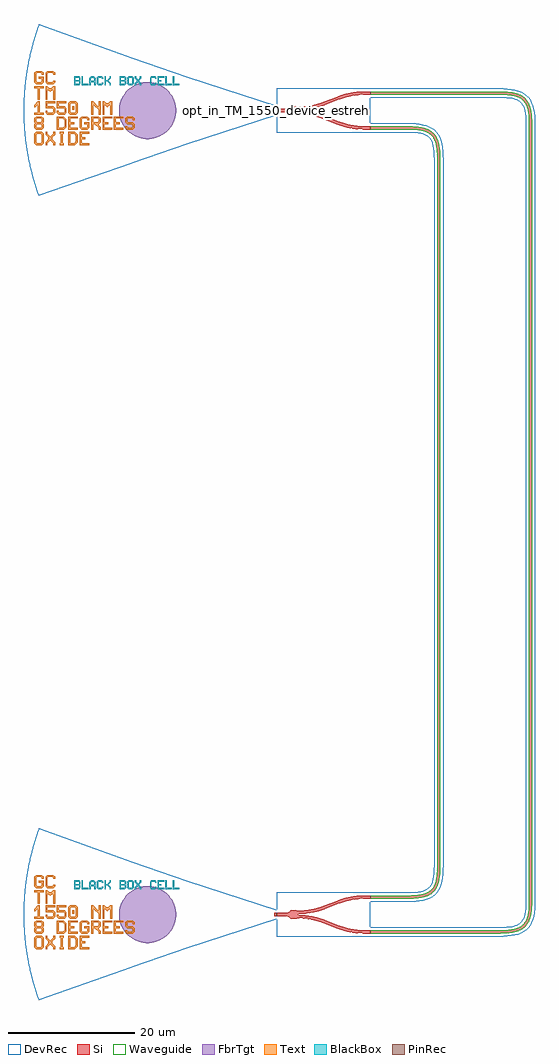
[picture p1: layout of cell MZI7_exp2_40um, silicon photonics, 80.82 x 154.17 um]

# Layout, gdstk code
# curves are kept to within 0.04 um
import gdstk
lib = gdstk.Library(unit=1e-6, precision=1e-09)
def R(c, l, rs):  # rectangles x0, y0, x1, y1
    for r in rs: c.add(gdstk.rectangle(r[:2], r[2:], *l))
def P(c, l, *ps):  # polygons
    for p in ps: c.add(gdstk.Polygon(p, *l))
Si = (1, 0)
PinRec = (1, 10)
Waveguide = (1, 99)
Text = (10, 0)
DevRec = (68, 0)
FbrTgt = (81, 0)
BlackBox = (998, 0)

text = lib.new_cell('TEXT')
P(text, BlackBox, [(13.2,0),(13.2,1.4),(14.2,1.4),(14.2,1.2),(13.4,1.2),(13.4,0.8),(13.8,0.8),(13.8,0.6),(13.4,0.6),(13.4,0.2),(14.2,0.2),(14.2,0)],
  [(9.6,0),(9.6,0.3),(9.9,0.6),(9.9,0.8),(9.6,1.1),(9.6,1.4),(9.8,1.4),(9.8,1.2),(10.1,0.9),(10.4,1.2),(10.4,1.4),(10.6,1.4),(10.6,1.1),(10.3,0.8),(10.3,0.6),(10.6,0.3),(10.6,0),(10.4,0),(10.4,0.2),(10.1,0.5),(9.8,0.2),(9.8,0)],
  [(8.6,0),(8.4,0.2),(8.4,1.2),(8.6,1.4),(9.2,1.4),(9.4,1.2),(9.4,0.7),(9.2,0.7),(9.2,1.1),(9.1,1.2),(8.7,1.2),(8.6,1.1),(8.6,0.3),(8.7,0.2),(9.1,0.2),(9.2,0.3),(9.2,0.7),(9.4,0.7),(9.4,0.2),(9.2,0)],
  [(4.8,0),(4.8,1.4),(5,1.4),(5,0.8),(5.2,0.8),(5.6,1.2),(5.6,1.4),(5.8,1.4),(5.8,1.1),(5.4,0.7),(5.8,0.3),(5.8,0),(5.6,0),(5.6,0.2),(5.2,0.6),(5,0.6),(5,0)],
  [(3.8,0),(3.6,0.2),(3.6,1.2),(3.8,1.4),(4.4,1.4),(4.6,1.2),(4.6,1),(4.4,1),(4.4,1.1),(4.3,1.2),(3.9,1.2),(3.8,1.1),(3.8,0.3),(3.9,0.2),(4.3,0.2),(4.4,0.3),(4.4,0.4),(4.6,0.4),(4.6,0.2),(4.4,0)],
  [(12.2,0),(12,0.2),(12,1.2),(12.2,1.4),(12.8,1.4),(13,1.2),(13,1),(12.8,1),(12.8,1.1),(12.7,1.2),(12.3,1.2),(12.2,1.1),(12.2,0.3),(12.3,0.2),(12.7,0.2),(12.8,0.3),(12.8,0.4),(13,0.4),(13,0.2),(12.8,0)],
  [(2.4,0),(2.4,1.1),(2.7,1.4),(3.1,1.4),(3.3,1.2),(2.8,1.2),(2.6,1),(2.6,0.7),(3.2,0.7),(3.2,1),(3,1.2),(3.3,1.2),(3.4,1.1),(3.4,0),(3.2,0),(3.2,0.5),(2.6,0.5),(2.6,0)],
  [(1.2,0),(1.2,1.4),(1.4,1.4),(1.4,0.2),(2.2,0.2),(2.2,0)],
  [(14.4,0),(14.4,1.4),(14.6,1.4),(14.6,0.2),(15.4,0.2),(15.4,0)],
  [(15.6,0),(15.6,1.4),(15.8,1.4),(15.8,0.2),(16.6,0.2),(16.6,0)],
  [(0,0),(0,1.4),(0.8,1.4),(1,1.2),(0.2,1.2),(0.2,0.8),(0.7,0.8),(0.8,0.9),(0.8,1.1),(0.7,1.2),(1,1.2),(1,0.8),(0.9,0.7),(1,0.6),(0.2,0.6),(0.2,0.2),(0.7,0.2),(0.8,0.3),(0.8,0.5),(0.7,0.6),(1,0.6),(1,0.2),(0.8,0)],
  [(7.2,0),(7.2,1.4),(8,1.4),(8.2,1.2),(7.4,1.2),(7.4,0.8),(7.9,0.8),(8,0.9),(8,1.1),(7.9,1.2),(8.2,1.2),(8.2,0.8),(8.1,0.7),(8.2,0.6),(7.4,0.6),(7.4,0.2),(7.9,0.2),(8,0.3),(8,0.5),(7.9,0.6),(8.2,0.6),(8.2,0.2),(8,0)])

gc_tm_1550_8degoxide_bb = lib.new_cell('GC_TM_1550_8degOxide_BB')
R(gc_tm_1550_8degoxide_bb, Si, [(-0.4,-0.25,0,0.25)])
R(gc_tm_1550_8degoxide_bb, Text, [(-32.313,0.092,-32.013,0.692)])
P(gc_tm_1550_8degoxide_bb, Text, [(-30.813,-3.058),(-31.113,-2.758),(-31.113,-1.258),(-30.813,-0.958),(-29.913,-0.958),(-29.613,-1.258),(-29.613,-1.558),(-29.913,-1.558),(-29.913,-1.408),(-30.063,-1.258),(-30.663,-1.258),(-30.813,-1.408),(-30.813,-2.608),(-30.663,-2.758),(-30.063,-2.758),(-29.913,-2.608),(-29.913,-2.158),(-30.363,-2.158),(-30.363,-1.858),(-29.613,-1.858),(-29.613,-2.758),(-29.913,-3.058)],
  [(-38.013,4.142),(-38.313,4.442),(-38.313,5.942),(-38.013,6.242),(-37.113,6.242),(-36.813,5.942),(-36.813,5.642),(-37.113,5.642),(-37.113,5.792),(-37.263,5.942),(-37.863,5.942),(-38.013,5.792),(-38.013,4.592),(-37.863,4.442),(-37.263,4.442),(-37.113,4.592),(-37.113,5.042),(-37.563,5.042),(-37.563,5.342),(-36.813,5.342),(-36.813,4.442),(-37.113,4.142)],
  [(-36.513,-5.458),(-36.513,-5.008),(-36.063,-4.558),(-36.063,-4.258),(-36.513,-3.808),(-36.513,-3.358),(-36.213,-3.358),(-36.213,-3.658),(-35.763,-4.108),(-35.313,-3.658),(-35.313,-3.358),(-35.013,-3.358),(-35.013,-3.808),(-35.463,-4.258),(-35.463,-4.558),(-35.013,-5.008),(-35.013,-5.458),(-35.313,-5.458),(-35.313,-5.158),(-35.763,-4.708),(-36.213,-5.158),(-36.213,-5.458)],
  [(-37.713,1.742),(-37.713,3.542),(-38.313,3.542),(-38.313,3.842),(-36.813,3.842),(-36.813,3.542),(-37.413,3.542),(-37.413,1.742)],
  [(-38.013,-5.458),(-38.313,-5.158),(-38.313,-3.658),(-38.013,-3.358),(-37.113,-3.358),(-36.813,-3.658),(-36.813,-4.408),(-37.113,-4.408),(-37.113,-3.808),(-37.263,-3.658),(-37.863,-3.658),(-38.013,-3.808),(-38.013,-5.008),(-37.863,-5.158),(-37.263,-5.158),(-37.113,-5.008),(-37.113,-4.408),(-36.813,-4.408),(-36.813,-5.158),(-37.113,-5.458)],
  [(-31.113,-5.458),(-31.113,-3.358),(-29.613,-3.358),(-29.613,-3.658),(-30.813,-3.658),(-30.813,-4.258),(-30.213,-4.258),(-30.213,-4.558),(-30.813,-4.558),(-30.813,-5.158),(-29.613,-5.158),(-29.613,-5.458)],
  [(-32.913,-3.058),(-32.913,-0.958),(-31.413,-0.958),(-31.413,-1.258),(-32.613,-1.258),(-32.613,-1.858),(-32.013,-1.858),(-32.013,-2.158),(-32.613,-2.158),(-32.613,-2.758),(-31.413,-2.758),(-31.413,-3.058)],
  [(-27.513,-3.058),(-27.513,-0.958),(-26.013,-0.958),(-26.013,-1.258),(-27.213,-1.258),(-27.213,-1.858),(-26.613,-1.858),(-26.613,-2.158),(-27.213,-2.158),(-27.213,-2.758),(-26.013,-2.758),(-26.013,-3.058)],
  [(-25.713,-3.058),(-25.713,-0.958),(-24.213,-0.958),(-24.213,-1.258),(-25.413,-1.258),(-25.413,-1.858),(-24.813,-1.858),(-24.813,-2.158),(-25.413,-2.158),(-25.413,-2.758),(-24.213,-2.758),(-24.213,-3.058)],
  [(-29.313,-0.658),(-29.313,1.442),(-29.013,1.442),(-28.263,0.692),(-28.113,0.692),(-28.113,1.442),(-27.813,1.442),(-27.813,-0.658),(-28.113,-0.658),(-28.113,0.092),(-28.863,0.842),(-29.013,0.842),(-29.013,-0.658)],
  [(-34.263,-5.458),(-34.263,-5.158),(-34.113,-5.158),(-34.113,-3.658),(-34.263,-3.658),(-34.263,-3.358),(-33.663,-3.358),(-33.663,-3.658),(-33.813,-3.658),(-33.813,-5.158),(-33.663,-5.158),(-33.663,-5.458)],
  [(-36.213,4.142),(-36.513,4.442),(-36.513,5.942),(-36.213,6.242),(-35.313,6.242),(-35.013,5.942),(-35.013,5.642),(-35.313,5.642),(-35.313,5.792),(-35.463,5.942),(-36.063,5.942),(-36.213,5.792),(-36.213,4.592),(-36.063,4.442),(-35.463,4.442),(-35.313,4.592),(-35.313,4.742),(-35.013,4.742),(-35.013,4.442),(-35.313,4.142)],
  [(-27.513,-0.658),(-27.513,1.442),(-27.213,1.442),(-26.913,1.142),(-26.613,1.142),(-26.313,1.442),(-26.013,1.442),(-26.013,-0.658),(-26.313,-0.658),(-26.313,0.842),(-26.463,0.842),(-26.763,0.542),(-27.063,0.842),(-27.213,0.842),(-27.213,-0.658)],
  [(-36.513,1.742),(-36.513,3.842),(-36.213,3.842),(-35.913,3.542),(-35.613,3.542),(-35.313,3.842),(-35.013,3.842),(-35.013,1.742),(-35.313,1.742),(-35.313,3.242),(-35.463,3.242),(-35.763,2.942),(-36.063,3.242),(-36.213,3.242),(-36.213,1.742)],
  [(-29.313,-3.058),(-29.313,-0.958),(-28.113,-0.958),(-27.813,-1.258),(-29.013,-1.258),(-29.013,-1.858),(-28.263,-1.858),(-28.113,-1.708),(-28.113,-1.408),(-28.263,-1.258),(-27.813,-1.258),(-27.813,-1.858),(-28.113,-2.158),(-28.113,-2.308),(-27.813,-2.608),(-27.813,-3.058),(-28.113,-3.058),(-28.113,-2.758),(-28.713,-2.158),(-29.013,-2.158),(-29.013,-3.058)],
  [(-32.613,-0.658),(-32.913,-0.358),(-32.913,1.142),(-32.613,1.442),(-31.713,1.442),(-31.413,1.142),(-32.463,1.142),(-32.613,0.992),(-32.613,-0.208),(-32.463,-0.358),(-31.863,-0.358),(-31.713,-0.208),(-31.713,0.992),(-31.863,1.142),(-31.413,1.142),(-31.413,-0.358),(-31.713,-0.658)],
  [(-38.013,-3.058),(-38.313,-2.758),(-38.313,-2.158),(-38.163,-2.008),(-38.313,-1.858),(-38.313,-1.258),(-38.013,-0.958),(-37.113,-0.958),(-36.813,-1.258),(-37.863,-1.258),(-38.013,-1.408),(-38.013,-1.708),(-37.863,-1.858),(-37.263,-1.858),(-37.113,-1.708),(-37.113,-1.408),(-37.263,-1.258),(-36.813,-1.258),(-36.813,-1.858),(-36.963,-2.008),(-36.813,-2.158),(-37.863,-2.158),(-38.013,-2.308),(-38.013,-2.608),(-37.863,-2.758),(-37.263,-2.758),(-37.113,-2.608),(-37.113,-2.308),(-37.263,-2.158),(-36.813,-2.158),(-36.813,-2.758),(-37.113,-3.058)],
  [(-32.913,-5.458),(-32.913,-3.358),(-31.863,-3.358),(-31.563,-3.658),(-32.613,-3.658),(-32.613,-5.158),(-32.013,-5.158),(-31.713,-4.858),(-31.713,-3.958),(-32.013,-3.658),(-31.563,-3.658),(-31.413,-3.808),(-31.413,-5.008),(-31.863,-5.458)],
  [(-34.713,-3.058),(-34.713,-0.958),(-33.663,-0.958),(-33.363,-1.258),(-34.413,-1.258),(-34.413,-2.758),(-33.813,-2.758),(-33.513,-2.458),(-33.513,-1.558),(-33.813,-1.258),(-33.363,-1.258),(-33.213,-1.408),(-33.213,-2.608),(-33.663,-3.058)],
  [(-36.213,-0.658),(-36.513,-0.358),(-36.513,-0.058),(-36.213,-0.058),(-36.213,-0.208),(-36.063,-0.358),(-35.463,-0.358),(-35.313,-0.208),(-35.313,0.242),(-35.463,0.392),(-36.513,0.392),(-36.513,1.442),(-35.013,1.442),(-35.013,1.142),(-36.213,1.142),(-36.213,0.692),(-35.313,0.692),(-35.013,0.392),(-35.013,-0.358),(-35.313,-0.658)],
  [(-34.413,-0.658),(-34.713,-0.358),(-34.713,-0.058),(-34.413,-0.058),(-34.413,-0.208),(-34.263,-0.358),(-33.663,-0.358),(-33.513,-0.208),(-33.513,0.242),(-33.663,0.392),(-34.713,0.392),(-34.713,1.442),(-33.213,1.442),(-33.213,1.142),(-34.413,1.142),(-34.413,0.692),(-33.513,0.692),(-33.213,0.392),(-33.213,-0.358),(-33.513,-0.658)],
  [(-23.613,-3.058),(-23.913,-2.758),(-23.913,-2.458),(-23.613,-2.458),(-23.613,-2.608),(-23.463,-2.758),(-22.863,-2.758),(-22.713,-2.608),(-22.713,-2.308),(-22.863,-2.158),(-23.613,-2.158),(-23.913,-1.858),(-23.913,-1.258),(-23.613,-0.958),(-22.713,-0.958),(-22.413,-1.258),(-22.413,-1.558),(-22.713,-1.558),(-22.713,-1.408),(-22.863,-1.258),(-23.463,-1.258),(-23.613,-1.408),(-23.613,-1.708),(-23.463,-1.858),(-22.713,-1.858),(-22.413,-2.158),(-22.413,-2.758),(-22.713,-3.058)],
  [(-38.313,-0.658),(-38.313,-0.358),(-37.713,-0.358),(-37.713,0.842),(-37.863,0.842),(-38.163,0.542),(-38.313,0.542),(-38.313,0.842),(-37.713,1.442),(-37.413,1.442),(-37.413,-0.358),(-36.813,-0.358),(-36.813,-0.658)])
P(gc_tm_1550_8degoxide_bb, DevRec, [(-37.607,-13.5),(-38.627,-10.245),(-39.378,-6.832),(-39.647,-5.058),(-39.835,-3.274),(-39.969,0.224),(-39.812,3.541),(-39.331,7.097),(-38.557,10.505),(-37.546,13.669),(-22.8,8.353),(-14.109,5.36),(0,0.75),(0,-0.75),(-14.109,-5.36)])
P(gc_tm_1550_8degoxide_bb, FbrTgt, [(-20.621,-4.5),(-21.495,-4.37),(-22.326,-4.073),(-23.084,-3.619),(-23.738,-3.026),(-24.264,-2.316),(-24.642,-1.518),(-24.857,-0.661),(-24.9,0.221),(-24.77,1.095),(-24.473,1.926),(-24.019,2.684),(-23.426,3.338),(-22.716,3.864),(-21.918,4.242),(-21.061,4.457),(-20.179,4.5),(-19.305,4.37),(-18.474,4.073),(-17.716,3.619),(-17.062,3.026),(-16.536,2.316),(-16.158,1.518),(-15.943,0.661),(-15.9,-0.221),(-16.03,-1.095),(-16.327,-1.926),(-16.781,-2.684),(-17.374,-3.338),(-18.084,-3.864),(-18.882,-4.242),(-19.739,-4.457)])
gc_tm_1550_8degoxide_bb.add(gdstk.FlexPath([(-0.01,0),(0.01,0)], 0.5, ends="flush", simple_path=True, layer=1, datatype=10))  # PinRec
gc_tm_1550_8degoxide_bb.add(gdstk.Reference(text, (-32,4)))
gc_tm_1550_8degoxide_bb.add(gdstk.Label('opt1', (0,0), layer=1, texttype=10))
gc_tm_1550_8degoxide_bb.add(gdstk.Label('Component=GC_TM_1550_8degOxide_BB', (-28,-5), layer=68, texttype=0))
gc_tm_1550_8degoxide_bb.add(gdstk.Label('Lumerical_INTERCONNECT_library=Design kits/ebeam', (-29,-7), layer=68, texttype=0))

ebeam_y_1550 = lib.new_cell('ebeam_y_1550')
R(ebeam_y_1550, Si, [(6.5,-3,7.4,-2.5), (-7.4,-0.25,-6,0.25), (6.5,2.5,7.4,3)])
P(ebeam_y_1550, Si, [(6.458,-3),(6.237,-2.997),(6.237,-2.497),(6.5,-2.5),(6.5,-3)],
  [(2.265,-2.21),(0.055,-1.356),(0.235,-0.89),(2.445,-1.744)],
  [(5.033,-2.908),(3.59,-2.634),(2.265,-2.21),(2.445,-1.744),(3.731,-2.154),(5.033,-2.404)],
  [(-0.762,0.555),(-0.762,1.076),(0.055,1.356),(0.235,0.89)],
  [(-5.122,-0.662),(-5.442,-0.374),(-5.808,-0.255),(-6,-0.25),(-6,0.25),(-5.817,0.253),(-5.442,0.374),(-5.122,0.662)],
  [(-4.957,-0.703),(-5.122,-0.662),(-5.122,0.662),(-4.538,0.703),(-4,0.6),(-4,-0.6),(-4.509,-0.701)],
  [(0.055,-1.356),(-0.762,-1.076),(-0.762,-0.555),(0.235,-0.89)],
  [(6.237,2.497),(6.237,2.997),(6.5,3),(6.5,2.5)],
  [(-0.762,-1.076),(-2.334,-0.724),(-4,-0.6),(-4,-0.1),(-2.381,-0.212),(-0.762,-0.555)],
  [(5.033,2.404),(5.033,2.908),(6.237,2.997),(6.237,2.497)],
  [(6.233,-2.997),(5.033,-2.908),(5.033,-2.404),(6.237,-2.497)],
  [(0.235,0.89),(0.055,1.356),(2.265,2.21),(2.445,1.744)],
  [(2.445,1.744),(2.267,2.211),(3.59,2.634),(5.033,2.908),(5.033,2.404),(3.731,2.154)],
  [(-4,0.1),(-4,0.6),(-2.334,0.724),(-0.762,1.076),(-0.762,0.555),(-2.381,0.212)])
R(ebeam_y_1550, DevRec, [(-7.4,-3.5,7.4,3.5)])
ebeam_y_1550.add(gdstk.FlexPath([(7.35,-2.75),(7.45,-2.75)], 0.5, ends="flush", simple_path=True, layer=1, datatype=10))  # PinRec
ebeam_y_1550.add(gdstk.FlexPath([(7.35,2.75),(7.45,2.75)], 0.5, ends="flush", simple_path=True, layer=1, datatype=10))  # PinRec
ebeam_y_1550.add(gdstk.FlexPath([(-7.35,0),(-7.45,0)], 0.5, ends="flush", simple_path=True, layer=1, datatype=10))  # PinRec
ebeam_y_1550.add(gdstk.Label('opt1', (-7.4,0), layer=1, texttype=10))
ebeam_y_1550.add(gdstk.Label('opt3', (7.4,-2.75), layer=1, texttype=10))
ebeam_y_1550.add(gdstk.Label('opt2', (7.4,2.75), layer=1, texttype=10))
ebeam_y_1550.add(gdstk.Label('Lumerical_INTERCONNECT_library=Design kits/ebeam', (-6.86,-2.19), layer=68, texttype=0))
ebeam_y_1550.add(gdstk.Label('Component=ebeam_y_1550', (-6,1.5), layer=68, texttype=0))
ebeam_y_1550.add(gdstk.Label('Ref: Y Zhang, Opt. Express, 21/1, 2013', (-7.5,-1), layer=10, texttype=0))

waveguide_1 = lib.new_cell('Waveguide$1')
P(waveguide_1, Si, [(14.8,-3),(14.8,-2.5),(35.101,-2.5),(36.83,-2.409),(37.966,-2.155),(38.405,-1.959),(38.848,-1.646),(39.195,-1.243),(39.415,-0.843),(39.714,0.206),(39.813,1.044),(39.851,2.25),(39.851,124.75),(39.812,125.957),(39.685,126.947),(39.506,127.615),(39.31,128.054),(39.066,128.418),(38.768,128.716),(38.404,128.96),(37.842,129.197),(36.486,129.447),(35.101,129.5),(14.8,129.5),(14.8,130),(35.322,129.999),(37.231,129.855),(37.994,129.673),(38.644,129.398),(39.183,129.017),(39.61,128.522),(39.925,127.918),(40.143,127.2),(40.277,126.364),(40.346,125.188),(40.351,2.25),(40.311,1.008),(40.206,0.12),(40.024,-0.643),(39.812,-1.172),(39.534,-1.63),(39.184,-2.016),(38.762,-2.33),(38.269,-2.574),(37.705,-2.755),(36.892,-2.905),(35.101,-3)])
P(waveguide_1, Waveguide, [(14.8,-3),(14.8,-2.5),(35.101,-2.5),(36.83,-2.409),(37.966,-2.155),(38.405,-1.959),(38.848,-1.646),(39.195,-1.243),(39.415,-0.843),(39.714,0.206),(39.813,1.044),(39.851,2.25),(39.851,124.75),(39.812,125.957),(39.685,126.947),(39.506,127.615),(39.31,128.054),(39.066,128.418),(38.768,128.716),(38.404,128.96),(37.842,129.197),(36.486,129.447),(35.101,129.5),(14.8,129.5),(14.8,130),(35.322,129.999),(37.231,129.855),(37.994,129.673),(38.644,129.398),(39.183,129.017),(39.61,128.522),(39.925,127.918),(40.143,127.2),(40.277,126.364),(40.346,125.188),(40.351,2.25),(40.311,1.008),(40.206,0.12),(40.024,-0.643),(39.812,-1.172),(39.534,-1.63),(39.184,-2.016),(38.762,-2.33),(38.269,-2.574),(37.705,-2.755),(36.892,-2.905),(35.101,-3)])
P(waveguide_1, DevRec, [(14.8,-3.5),(14.8,-2),(35.101,-2),(36.846,-1.902),(37.677,-1.724),(37.997,-1.604),(38.477,-1.307),(38.659,-1.125),(38.956,-0.645),(39.254,0.506),(39.351,2.25),(39.351,124.75),(39.308,125.981),(39.175,126.944),(38.815,127.909),(38.658,128.126),(38.259,128.465),(37.294,128.825),(36.331,128.958),(14.8,129),(14.8,130.5),(35.101,130.5),(37.053,130.389),(38.128,130.155),(38.61,129.973),(39.45,129.448),(39.798,129.1),(40.089,128.701),(40.505,127.778),(40.739,126.703),(40.84,125.452),(40.851,2.25),(40.74,0.298),(40.506,-0.777),(40.324,-1.259),(39.799,-2.099),(39.451,-2.447),(38.611,-2.972),(38.129,-3.154),(37.054,-3.388),(35.101,-3.5)])
waveguide_1.add(gdstk.FlexPath([(14.81,-2.75),(14.79,-2.75)], 0.5, ends="flush", simple_path=True, layer=1, datatype=10))  # PinRec
waveguide_1.add(gdstk.FlexPath([(14.81,129.75),(14.79,129.75)], 0.5, ends="flush", simple_path=True, layer=1, datatype=10))  # PinRec
waveguide_1.add(gdstk.Label('opt2', (14.8,-2.75), layer=1, texttype=10))
waveguide_1.add(gdstk.Label('opt1', (14.8,129.75), layer=1, texttype=10))
waveguide_1.add(gdstk.Label('Length=179.999 (microns)', (14.8,129.15), layer=68, texttype=0))
waveguide_1.add(gdstk.Label('waveguide_type=Strip TE 1550 nm, w=500 nm', (14.8,129.55), layer=68, texttype=0))
waveguide_1.add(gdstk.Label('cellName=Waveguide', (14.8,129.95), layer=68, texttype=0))
waveguide_1.add(gdstk.Label('Spice_param:wg_length=0.000179999 wg_width=5e-07 points="[[14.8,129.75],[40.101,129.75],[40.101,-2.75],[14.8,-2.75]]" radius=5e-06', (14.8,129.75), layer=68, texttype=0))
waveguide_1.add(gdstk.Label('Component=ebeam_wg_integral_1550', (14.8,129.85), layer=68, texttype=0))
waveguide_1.add(gdstk.Label('Lumerical_INTERCONNECT_library=Design kits/EBeam', (14.8,129.65), layer=68, texttype=0))

waveguide_3 = lib.new_cell('Waveguide$3')
P(waveguide_3, Si, [(14.8,2.5),(14.8,3),(21.431,3.017),(22.646,3.137),(23.583,3.389),(24.269,3.784),(24.567,4.082),(24.811,4.446),(25.156,5.408),(25.324,6.728),(25.352,119.25),(25.299,120.635),(25.088,121.862),(24.696,122.743),(24.425,123.073),(24.096,123.343),(23.344,123.696),(22.492,123.887),(21.234,123.99),(14.8,124),(14.8,124.5),(21.652,124.472),(22.733,124.354),(23.635,124.125),(24.374,123.759),(24.869,123.332),(25.25,122.793),(25.568,122),(25.758,121.04),(25.843,119.897),(25.824,6.7),(25.644,5.3),(25.477,4.717),(25.249,4.206),(24.684,3.483),(24.262,3.169),(23.769,2.925),(22.732,2.645),(21.453,2.517)])
P(waveguide_3, Waveguide, [(14.8,2.5),(14.8,3),(21.431,3.017),(22.646,3.137),(23.583,3.389),(24.269,3.784),(24.567,4.082),(24.811,4.446),(25.156,5.408),(25.324,6.728),(25.352,119.25),(25.299,120.635),(25.088,121.862),(24.696,122.743),(24.425,123.073),(24.096,123.343),(23.344,123.696),(22.492,123.887),(21.234,123.99),(14.8,124),(14.8,124.5),(21.652,124.472),(22.733,124.354),(23.635,124.125),(24.374,123.759),(24.869,123.332),(25.25,122.793),(25.568,122),(25.758,121.04),(25.843,119.897),(25.824,6.7),(25.644,5.3),(25.477,4.717),(25.249,4.206),(24.684,3.483),(24.262,3.169),(23.769,2.925),(22.732,2.645),(21.453,2.517)])
P(waveguide_3, DevRec, [(14.8,2),(14.8,3.5),(21.251,3.51),(22.346,3.597),(23.497,3.895),(23.977,4.192),(24.159,4.374),(24.456,4.854),(24.676,5.556),(24.809,6.519),(24.852,7.75),(24.852,119.25),(24.81,120.48),(24.677,121.443),(24.317,122.408),(24.16,122.625),(23.761,122.964),(23.178,123.224),(22.347,123.402),(21.252,123.489),(14.8,123.5),(14.8,125),(21.953,124.953),(23.112,124.79),(24.112,124.472),(24.952,123.947),(25.3,123.599),(25.591,123.2),(26.007,122.277),(26.241,121.202),(26.342,119.951),(26.352,7.75),(26.305,6.399),(26.142,5.24),(26.006,4.722),(25.59,3.799),(24.951,3.052),(24.111,2.527),(23.111,2.209),(21.952,2.046)])
waveguide_3.add(gdstk.FlexPath([(14.81,2.75),(14.79,2.75)], 0.5, ends="flush", simple_path=True, layer=1, datatype=10))  # PinRec
waveguide_3.add(gdstk.FlexPath([(14.81,124.25),(14.79,124.25)], 0.5, ends="flush", simple_path=True, layer=1, datatype=10))  # PinRec
waveguide_3.add(gdstk.Label('opt2', (14.8,124.25), layer=1, texttype=10))
waveguide_3.add(gdstk.Label('opt1', (14.8,2.75), layer=1, texttype=10))
waveguide_3.add(gdstk.Label('Length=140.001 (microns)', (14.8,2.15), layer=68, texttype=0))
waveguide_3.add(gdstk.Label('Spice_param:wg_length=0.000140001 wg_width=5e-07 points="[[14.8,2.75],[25.602,2.75],[25.602,124.25],[14.8,124.25]]" radius=5e-06', (14.8,2.75), layer=68, texttype=0))
waveguide_3.add(gdstk.Label('waveguide_type=Strip TE 1550 nm, w=500 nm', (14.8,2.55), layer=68, texttype=0))
waveguide_3.add(gdstk.Label('cellName=Waveguide', (14.8,2.95), layer=68, texttype=0))
waveguide_3.add(gdstk.Label('Component=ebeam_wg_integral_1550', (14.8,2.85), layer=68, texttype=0))
waveguide_3.add(gdstk.Label('Lumerical_INTERCONNECT_library=Design kits/EBeam', (14.8,2.65), layer=68, texttype=0))

mzi7_exp2_40um = lib.new_cell('MZI7_exp2_40um')
mzi7_exp2_40um.add(gdstk.Reference(gc_tm_1550_8degoxide_bb, (39.97,-140.67)))
mzi7_exp2_40um.add(gdstk.Reference(gc_tm_1550_8degoxide_bb, (39.97,-13.67)))
mzi7_exp2_40um.add(gdstk.Reference(ebeam_y_1550, (47.37,-140.67)))
mzi7_exp2_40um.add(gdstk.Reference(ebeam_y_1550, (47.37,-13.67)))
mzi7_exp2_40um.add(gdstk.Reference(waveguide_1, (39.97,-140.67)))
mzi7_exp2_40um.add(gdstk.Reference(waveguide_3, (39.97,-140.67)))
mzi7_exp2_40um.add(gdstk.Label('opt_in_TM_1550_device_estrehlo_MZI7', (39.969,-13.669), layer=10, texttype=0))

lib.write_gds('MZI7_exp2_40um.gds')
